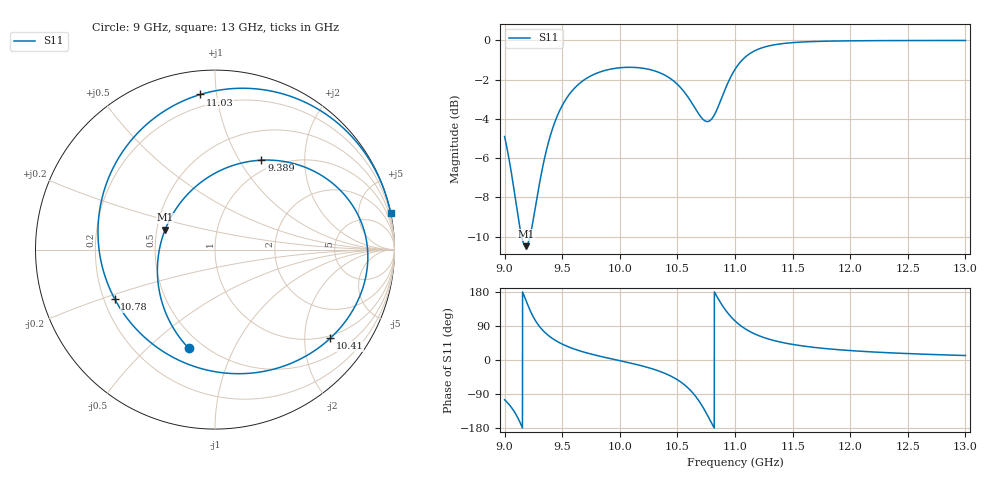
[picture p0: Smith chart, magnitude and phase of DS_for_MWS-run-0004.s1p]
! TOUCHSTONE file generated by CST DESIGN STUDIO
! Date and time: Tue Feb  4 16:44:43 2025
! Project name: C:\Work\MatlabApps\UnitCellOptimizationMatlab\CST\unitcell.cst
! Tree item: Tasks\Sweep1\SPara1\S-Parameters
! Header version: 2024
! Port assignment regex: !\s*Touchstone port\s*([0-9]+)\s*=\s*(CST MWS port|CST DES external port|CST DES block port)\s*(.+)\s* \(\"(.*)\"\)(\s*mode\s*([0-9]+))?.*
! Touchstone port assignment:
! Touchstone port 1 = CST DES external port 1 ("")
# GHz S MA R 50
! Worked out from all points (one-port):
!   4001 points, 9 GHz to 13 GHz, reference 50 ohm
!   lowest |S11| = -10.5 dB at 9.184 GHz (marker M1), VSWR 1.85, Z = 27.7 + j6.7 ohm
!   |S11| at or under -10 dB: 9.148 GHz to 9.22 GHz (71.22 MHz wide, 0.775 % of centre)
!   S11 on the Smith chart (normalised r, x): 9 GHz: 0.42, -0.68; 9.389 GHz: 0.86, +1.25; 10.41 GHz: 0.93, -2.66; 10.78 GHz: 0.24, -0.22; 11.03 GHz: 0.13, +0.90; 13 GHz: 0.01, +9.67
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9  0.5691 -104.9
9.101  0.382 -144.9
9.184  0.2992 158.4
9.285  0.4037 95.8
9.389  0.5616 62.6
9.5  0.6825 42.0
9.6  0.7521 29.4
9.714  0.8016 18.6
10  0.8519 -1.8
10.232  0.8464 -18.8
10.408  0.8104 -37.4
10.5  0.773 -52.2
10.592  0.7173 -73.6
10.659  0.6681 -96.2
10.717  0.6318 -122.2
10.775  0.6229 -153.8
10.823  0.6479 178.7
10.87  0.6963 153.5
10.935  0.7756 124.8
11  0.8439 103.2
11.029  0.8681 95.4
11.126  0.9245 75.6
11.228  0.9563 61.7
11.35  0.9757 50.4
11.5  0.9871 41.1
12  0.9976 24.9
12.5  0.9993 16.9
13  0.9998 11.8
